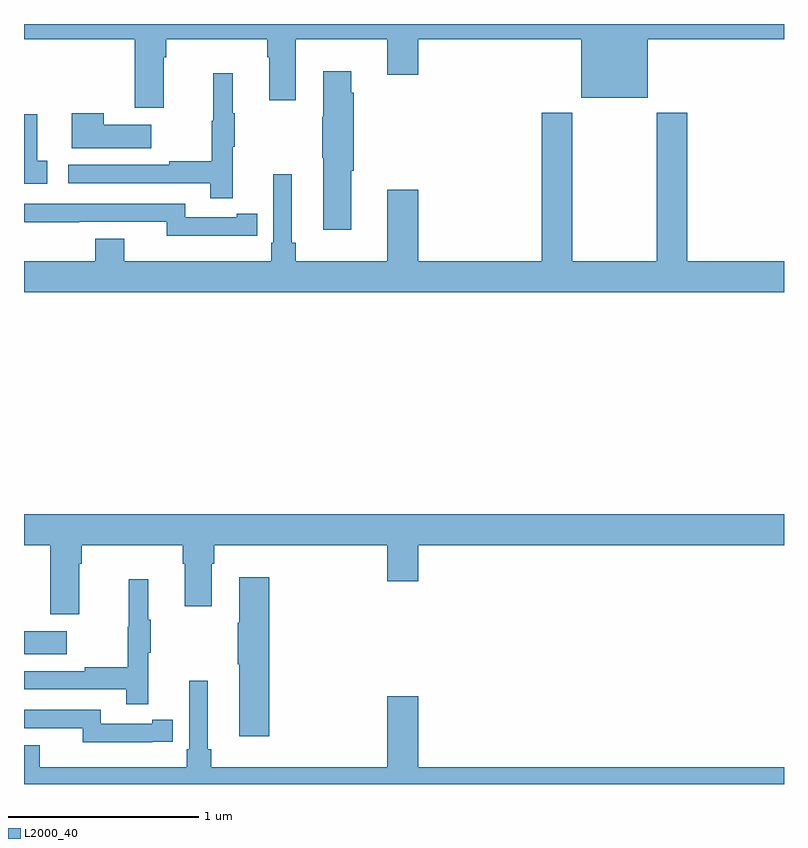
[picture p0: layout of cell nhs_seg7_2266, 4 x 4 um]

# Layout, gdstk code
import gdstk
lib = gdstk.Library(unit=1e-6, precision=1e-09)
def R(c, l, rs):  # rectangles x0, y0, x1, y1
    for r in rs: c.add(gdstk.rectangle(r[:2], r[2:], *l))
def P(c, l, *ps):  # polygons
    for p in ps: c.add(gdstk.Polygon(p, *l))
L2000_40 = (2000, 40)

nhs_seg7_2266 = lib.new_cell('nhs_seg7_2266')
R(nhs_seg7_2266, L2000_40, [(259,1026.683,259.225,1026.805)])
P(nhs_seg7_2266, L2000_40, [(259.735,1029.824),(259.748,1029.824),(259.748,1029.92),(260.279,1029.92),(260.279,1029.824),(260.291,1029.824),(260.291,1029.6),(260.431,1029.6),(260.431,1029.92),(260.912,1029.92),(260.912,1029.732),(261.076,1029.732),(261.076,1029.92),(261.932,1029.92),(261.932,1029.611),(262.282,1029.611),(262.282,1029.92),(263,1029.92),(263,1030),(259,1030),(259,1029.92),(259.583,1029.92),(259.583,1029.558),(259.735,1029.558)],
  [(260.722,1029.228),(260.735,1029.228),(260.735,1029.638),(260.722,1029.638),(260.722,1029.751),(260.576,1029.751),(260.576,1029.512),(260.569,1029.512),(260.569,1029.295),(260.576,1029.295),(260.576,1028.916),(260.722,1028.916)],
  [(260.099,1029.355),(260.11,1029.355),(260.11,1029.529),(260.099,1029.529),(260.099,1029.742),(259.996,1029.742),(259.996,1029.492),(259.989,1029.492),(259.989,1029.278),(259.765,1029.278),(259.765,1029.258),(259.233,1029.258),(259.233,1029.162),(259.981,1029.162),(259.981,1029.084),(260.099,1029.084)],
  [(263,1028.752),(262.49,1028.752),(262.49,1029.532),(262.33,1029.532),(262.33,1028.752),(261.885,1028.752),(261.885,1029.532),(261.725,1029.532),(261.725,1028.752),(261.076,1028.752),(261.076,1029.127),(260.912,1029.127),(260.912,1028.752),(260.429,1028.752),(260.429,1028.848),(260.41,1028.848),(260.41,1029.208),(260.313,1029.208),(260.313,1028.848),(260.3,1028.848),(260.3,1028.752),(259.528,1028.752),(259.528,1028.869),(259.376,1028.869),(259.376,1028.752),(259,1028.752),(259,1028.588),(263,1028.588)],
  [(259.669,1029.469),(259.421,1029.469),(259.421,1029.529),(259.25,1029.529),(259.25,1029.347),(259.669,1029.347)],
  [(259.123,1029.279),(259.07,1029.279),(259.07,1029.526),(259,1029.526),(259,1029.159),(259.123,1029.159)],
  [(260.12,1028.886),(260.228,1028.886),(260.228,1029.002),(260.12,1029.002),(260.12,1028.982),(259.848,1028.982),(259.848,1029.054),(259,1029.054),(259,1028.957),(259.292,1028.957),(259.292,1028.958),(259.752,1028.958),(259.752,1028.885),(260.12,1028.885)],
  [(259.291,1027.16),(259.304,1027.16),(259.304,1027.256),(259.835,1027.256),(259.835,1027.16),(259.847,1027.16),(259.847,1026.936),(259.987,1026.936),(259.987,1027.16),(260,1027.16),(260,1027.256),(260.912,1027.256),(260.912,1027.068),(261.076,1027.068),(261.076,1027.256),(263,1027.256),(263,1027.42),(259,1027.42),(259,1027.256),(259.139,1027.256),(259.139,1026.894),(259.291,1026.894)],
  [(260.291,1027.087),(260.132,1027.087),(260.132,1026.848),(260.125,1026.848),(260.125,1026.631),(260.132,1026.631),(260.132,1026.252),(260.291,1026.252)],
  [(259.654,1026.691),(259.666,1026.691),(259.666,1026.865),(259.654,1026.865),(259.654,1027.078),(259.552,1027.078),(259.552,1026.828),(259.545,1026.828),(259.545,1026.614),(259.321,1026.614),(259.321,1026.594),(259,1026.594),(259,1026.498),(259.537,1026.498),(259.537,1026.42),(259.654,1026.42)],
  [(263,1026.088),(261.076,1026.088),(261.076,1026.463),(260.912,1026.463),(260.912,1026.088),(259.985,1026.088),(259.985,1026.184),(259.966,1026.184),(259.966,1026.544),(259.869,1026.544),(259.869,1026.184),(259.856,1026.184),(259.856,1026.088),(259.084,1026.088),(259.084,1026.205),(259,1026.205),(259,1026),(263,1026)],
  [(259.676,1026.222),(259.784,1026.222),(259.784,1026.338),(259.676,1026.338),(259.676,1026.318),(259.404,1026.318),(259.404,1026.39),(259,1026.39),(259,1026.294),(259.308,1026.294),(259.308,1026.221),(259.676,1026.221)])

lib.write_gds('nhs_seg7_2266.gds')
